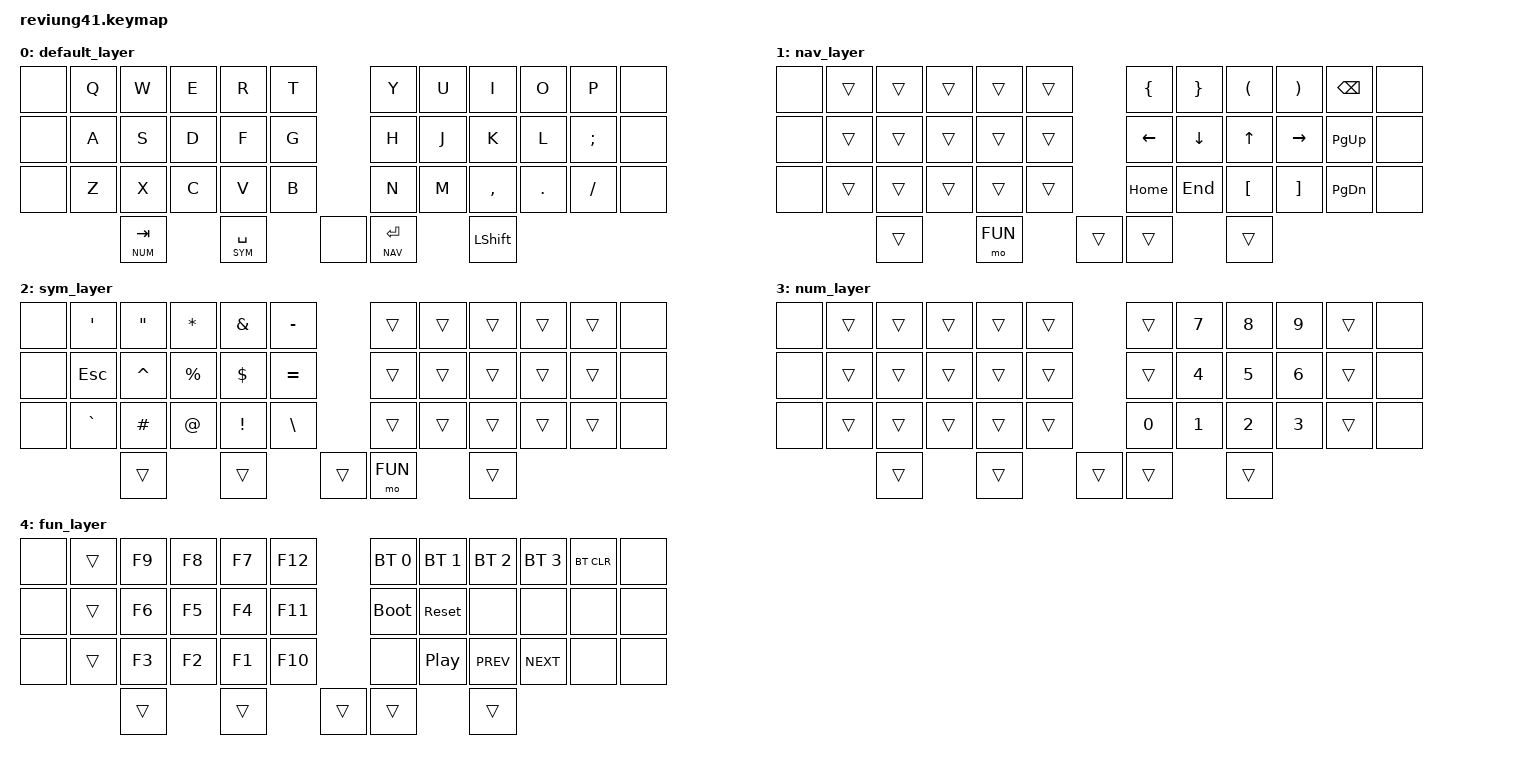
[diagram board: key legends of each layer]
/*
 * Copyright (c) 2020 The ZMK Contributors
 *
 * SPDX-License-Identifier: MIT
 */

#include <behaviors.dtsi>
#include <dt-bindings/zmk/keys.h>
#include <dt-bindings/zmk/bt.h>
#include <dt-bindings/zmk/outputs.h>

#define NAV 1
#define SYM 2
#define NUM 3
#define FUN 4

#define COMBO(NAME, BINDINGS, KEYPOS) \
  combo_##NAME { \
    timeout-ms = <50>; \
    bindings = <BINDINGS>; \
    key-positions = <KEYPOS>; \
    layers = <0>; \
  }

&mt {
  tapping-term-ms = <200>;
};

&lt {
  tapping-term-ms = <200>;
};

/ {
	behaviors {
    combos {
      compatible = "zmk,combos";
      COMBO(capsword, &caps_word, 16 19);
      COMBO(lctrl, &kp LCTRL, 13 14);
      COMBO(lalt, &kp LALT, 14 15);
      COMBO(lgui, &kp LGUI, 15 16);
      COMBO(rctrl, &kp RCTRL, 21 22);
      COMBO(ralt, &kp RALT, 20 21);
      COMBO(rgui, &kp RGUI, 19 20);
    };
	};

	keymap {
		compatible = "zmk,keymap";

		default_layer {
// --------------------------------------------------------------------------------------
// | TAB      | Q | W | E     | R       | T     | Y  | U       | I     | O | P |  -     |
// | CTRL/ESC | A | S | D     | F       | G     | H  | J       | K     | L | ; | CTRL/' |
// | SHFT/{   | Z | X | C     | V       | B     | N  | M       | ,     | . | / | SHFT/} |
//                    | ALT/( | LWR/SPC |  GUI/BSPC  | RSE/RET | ALT/) |
      bindings = <
        &none &kp Q &kp W &kp E &kp R &kp T       &kp Y &kp U &kp I     &kp O   &kp P    &none
        &none &kp A &kp S &kp D &kp F &kp G       &kp H &kp J &kp K     &kp L   &kp SEMI &none
        &none &kp Z &kp X &kp C &kp V &kp B       &kp N &kp M &kp COMMA &kp DOT &kp FSLH &none
                    &lt NUM TAB &lt SYM SPC &none &lt NAV RET &kp LSHFT
      >;
    };

    nav_layer {
// -------------------------------------------------------
// | `   | 1 | 2 | 3 | 4 | 5 | 6 | 7 | 8 | 9 | 0 |  =   |
// | DEL |   |   |   |   |   |   |   |   |   |   | BSPC |
// |     |   |   |   |   |   |   |   |   |   |   |      |
//                |   |       |   |   |
      bindings = <
        &none &trans &trans &trans &trans &trans        &kp LBRC &kp RBRC &kp LPAR &kp RPAR  &kp BSPC  &none
        &none &trans &trans &trans &trans &trans        &kp LEFT &kp DOWN &kp UP   &kp RIGHT &kp PG_UP &none
        &none &trans &trans &trans &trans &trans        &kp HOME &kp END  &kp LBKT &kp RBKT  &kp PG_DN &none
                      &trans        &mo FUN      &trans &trans   &trans
      >;
    };

    sym_layer {
// ---------------------------------------------------------------
// | ~    | ! | @ | # | $ | % |  ^  |  &  |  *  |  (  | ) |  +   |
// | BSPC | ^ | & | * | [ | ] | LFT | DWN |  UP | RGT | : | BSPC |
// |      |   |   |   |   |   |     |     |     |     |   |  |   |
//                |   |   |         |     |
      bindings = <
        &none &kp SQT   &kp DQT   &kp STAR  &kp AMPS &kp MINUS        &trans  &trans &trans &trans &trans &none
        &none &kp ESC   &kp CARET &kp PRCNT &kp DLLR &kp EQUAL        &trans  &trans &trans &trans &trans &none
        &none &kp GRAVE &kp HASH  &kp AT    &kp EXCL &kp BSLH         &trans  &trans &trans &trans &trans &none
                        &trans              &trans             &trans &mo FUN &trans
      >;
    };

    num_layer {
// ---------------------------------------------------------------
// | ~    | ! | @ | # | $ | % |  ^  |  &  |  *  |  (  | ) |  +   |
// | BSPC | ^ | & | * | [ | ] | LFT | DWN |  UP | RGT | : | BSPC |
// |      |   |   |   |   |   |     |     |     |     |   |  |   |
//                |   |   |         |     |
      bindings = <
        &none &trans &trans &trans &trans &trans      &trans  &kp N7 &kp N8 &kp N9 &trans &none
        &none &trans &trans &trans &trans &trans      &trans  &kp N4 &kp N5 &kp N6 &trans &none
        &none &trans &trans &trans &trans &trans      &kp N0  &kp N1 &kp N2 &kp N3 &trans &none
                     &trans        &trans       &trans &trans  &trans
      >;
    };

    fun_layer {
// ----------------------------------------------------------------------------------
// | ? | ?    | ?    | ?    | RESET |  ?  | BT1 | BT2  | BT3  | BT4  | BT5 | BT CLR |
// | ? | ?    | ?    | ?    | ?     |  ?  |     |      |      |      |     |        |
// |   | MUTE | VOL- | VOL+ |       | BLE |     | PLAY | PREV | NEXT |     |        |
//                   |      |       |           |      |      |
      bindings = <
        &none &trans &kp F9 &kp F8 &kp F7 &kp F12        &bt BT_SEL 0 &bt BT_SEL 1 &bt BT_SEL 2 &bt BT_SEL 3 &bt BT_CLR &none
        &none &trans &kp F6 &kp F5 &kp F4 &kp F11        &bootloader  &sys_reset   &none        &none        &none      &none
        &none &trans &kp F3 &kp F2 &kp F1 &kp F10        &none        &kp C_PP     &kp C_PREV   &kp C_NEXT   &none      &none
                     &trans        &trans         &trans &trans &trans
      >;
    };
  };
};

// vi: ft=c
